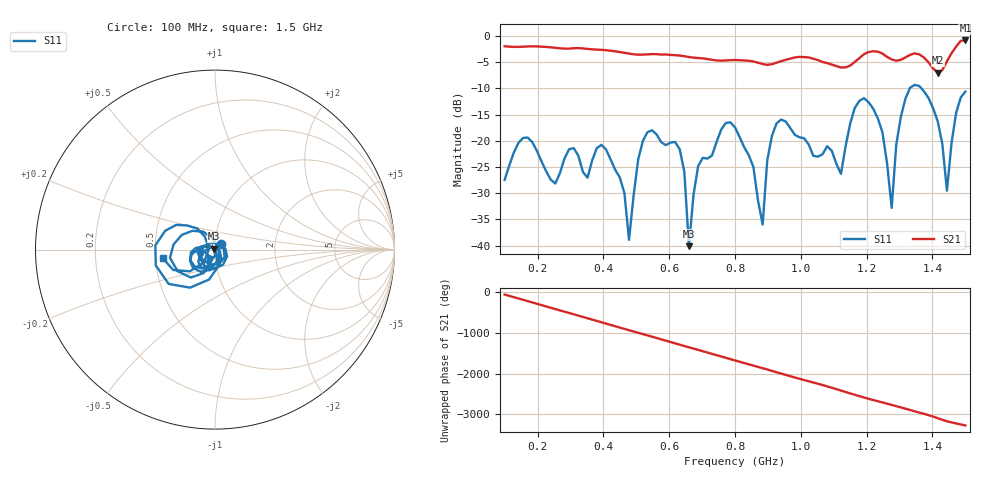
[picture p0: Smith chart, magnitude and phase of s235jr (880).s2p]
! NanoVNA-App
! Date: 2025-09-25 15:11:01
! Start: 100MHz Stop: 1,5GHz Points: 101
! S-Parameter data: F S11 S21 S12 S22
# Hz S RI R 50
!  Frequency  S11_Real  S11_Imag  S21_Real  S21_Imag  S12_Real  S12_Imag  S22_Real  S22_Imag
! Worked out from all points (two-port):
!   101 points, 100 MHz to 1.5 GHz, reference 50 ohm
!   highest |S21| = -0.86 dB at 1.5 GHz (marker M1); lowest = -7.0 dB at 1.416 GHz (marker M2)
!   |S21| within 3 dB of the highest: start of sweep to 645.3 MHz; 1.185 GHz to 1.259 GHz (73.99 MHz wide, 6.06 % of centre) (the widest 2 of 4)
!   lowest |S11| = -40.1 dB at 660 MHz (marker M3), VSWR 1.02, Z = 49.2 + j0.554 ohm
!   |S11| at or under -10 dB: start of sweep to 1.331 GHz; 1.366 GHz to end of sweep
!   S12 and S22 are empty: the file has one direction only
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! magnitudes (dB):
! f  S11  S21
! 100 MHz  -27.5  -2.0
! 156 MHz  -19.5  -2.0
! 338 MHz  -26.0  -2.4
! 408 MHz  -21.6  -2.7
! 478 MHz  -38.9  -3.4
! 520 MHz  -20.1  -3.6
! 576 MHz  -20.3  -3.6
! 632 MHz  -21.6  -3.7
! 660 MHz  -40.1  -4.0
! 688 MHz  -24.8  -4.2
! 800 MHz  -17.4  -4.6
! 884 MHz  -36.0  -5.3
! 926 MHz  -16.7  -5.1
! 1.038 GHz  -22.9  -4.4
! 1.122 GHz  -26.3  -6.0
! 1.192 GHz  -11.9  -3.5
! 1.248 GHz  -18.4  -3.4
! 1.276 GHz  -32.8  -4.5
! 1.332 GHz  -9.9  -3.6
! 1.416 GHz  -16.3  -7.0
! 1.444 GHz  -29.5  -4.8
! 1.5 GHz  -10.6  -0.9
